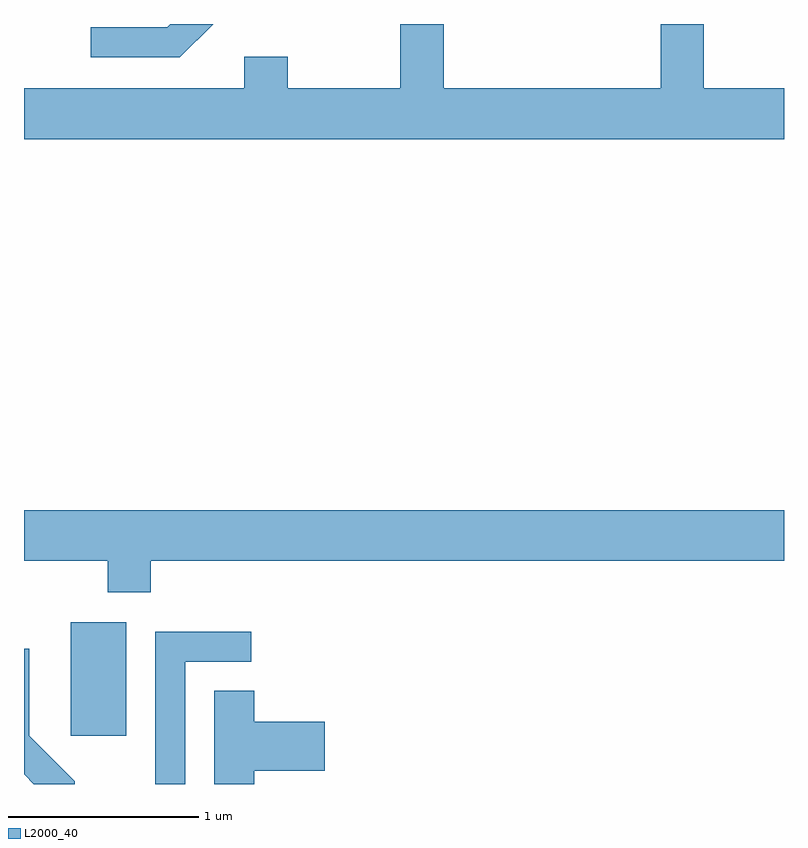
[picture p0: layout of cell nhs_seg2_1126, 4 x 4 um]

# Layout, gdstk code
import gdstk
lib = gdstk.Library(unit=1e-6, precision=1e-09)
def R(c, l, rs):  # rectangles x0, y0, x1, y1
    for r in rs: c.add(gdstk.rectangle(r[:2], r[2:], *l))
def P(c, l, *ps):  # polygons
    for p in ps: c.add(gdstk.Polygon(p, *l))
L2000_40 = (2000, 40)

nhs_seg2_1126 = lib.new_cell('nhs_seg2_1126')
R(nhs_seg2_1126, L2000_40, [(217.856,1054.056,218.149,1054.654)])
P(nhs_seg2_1126, L2000_40, [(221.611,1057.464),(221.189,1057.464),(221.189,1057.802),(220.961,1057.802),(220.961,1057.464),(219.819,1057.464),(219.819,1057.802),(219.591,1057.802),(219.591,1057.464),(218.999,1057.464),(218.999,1057.629),(218.771,1057.629),(218.771,1057.464),(217.611,1057.464),(217.611,1057.196),(221.611,1057.196)],
  [(218.607,1057.802),(218.382,1057.802),(218.364,1057.784),(217.963,1057.784),(217.963,1057.626),(218.432,1057.626)],
  [(218.279,1054.976),(221.611,1054.976),(221.611,1055.244),(217.611,1055.244),(217.611,1054.976),(218.051,1054.976),(218.051,1054.811),(218.279,1054.811)],
  [(218.459,1054.446),(218.808,1054.446),(218.808,1054.604),(218.301,1054.604),(218.301,1053.802),(218.459,1053.802)],
  [(217.879,1053.817),(217.639,1054.057),(217.639,1054.513),(217.611,1054.513),(217.611,1053.854),(217.663,1053.802),(217.879,1053.802)],
  [(218.824,1053.871),(219.194,1053.871),(219.194,1054.129),(218.824,1054.129),(218.824,1054.294),(218.611,1054.294),(218.611,1053.802),(218.824,1053.802)])

lib.write_gds('nhs_seg2_1126.gds')
